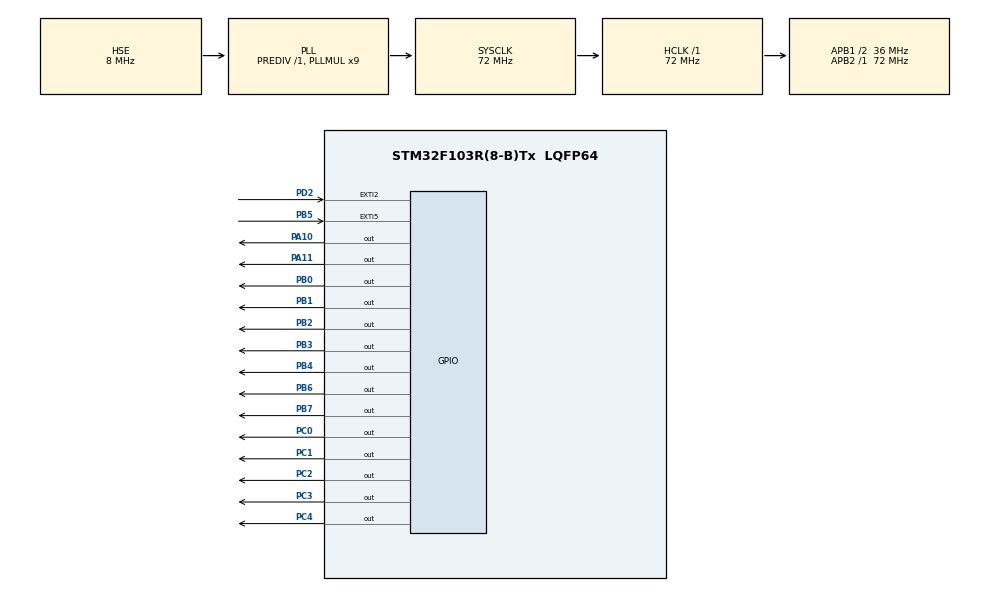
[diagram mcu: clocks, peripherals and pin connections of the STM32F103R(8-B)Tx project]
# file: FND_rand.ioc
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Mcu.Family=STM32F1
Mcu.Name=STM32F103R(8-B)Tx
Mcu.Package=LQFP64
NVIC.EXTI2_IRQn=true\:0\:0\:false\:false\:true\:true\:true\:true
NVIC.PriorityGroup=NVIC_PRIORITYGROUP_4
NVIC.RCC_IRQn=true\:0\:0\:false\:false\:true\:true\:false\:true
PA10.Signal=GPIO_Output
PA11.Signal=GPIO_Output
PA13.Mode=Serial_Wire
PA13.Signal=SYS_JTMS-SWDIO
PA14.Mode=Serial_Wire
PA14.Signal=SYS_JTCK-SWCLK
PB0.Signal=GPIO_Output
PB1.Signal=GPIO_Output
PB2.Signal=GPIO_Output
PB3.Signal=GPIO_Output
PB4.Signal=GPIO_Output
PB5.Signal=GPXTI5
PB6.Signal=GPIO_Output
PB7.Signal=GPIO_Output
PC0.Signal=GPIO_Output
PC1.Signal=GPIO_Output
PC14-OSC32_IN.Mode=LSE-External-Oscillator
PC14-OSC32_IN.Signal=RCC_OSC32_IN
PC15-OSC32_OUT.Mode=LSE-External-Oscillator
PC15-OSC32_OUT.Signal=RCC_OSC32_OUT
PC2.Signal=GPIO_Output
PC3.Signal=GPIO_Output
PC4.Signal=GPIO_Output
PD0-OSC_IN.Mode=HSE-External-Clock-Source
PD0-OSC_IN.Signal=RCC_OSC_IN
PD1-OSC_OUT.Mode=HSE-External-Clock-Source
PD1-OSC_OUT.Signal=RCC_OSC_OUT
PD2.GPIO_ModeDefaultEXTI=GPIO_MODE_IT_FALLING
PD2.Signal=GPXTI2
ProjectManager.HeapSize=0x200
ProjectManager.StackSize=0x400
ProjectManager.TargetToolchain=STM32CubeIDE
RCC.AHBFreq_Value=72000000
RCC.APB1CLKDivider=RCC_HCLK_DIV2
RCC.APB1Freq_Value=36000000
RCC.APB1TimFreq_Value=72000000
RCC.APB2Freq_Value=72000000
RCC.APB2TimFreq_Value=72000000
RCC.HCLKFreq_Value=72000000
RCC.PLLMUL=RCC_PLL_MUL9
RCC.PLLSourceVirtual=RCC_PLLSOURCE_HSE
RCC.SYSCLKFreq_VALUE=72000000
RCC.SYSCLKSource=RCC_SYSCLKSOURCE_PLLCLK
RCC.USBFreq_Value=72000000
board=custom

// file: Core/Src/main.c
/* USER CODE BEGIN Header */
/**
  ******************************************************************************
  * @file           : main.c
  * @brief          : Main program body
  ******************************************************************************
  * @attention
  *
  * Copyright (c) 2023 STMicroelectronics.
  * All rights reserved.
  *
  * This software is licensed under terms that can be found in the LICENSE file
  * in the root directory of this software component.
  * If no LICENSE file comes with this software, it is provided AS-IS.
  *
  ******+************************************************************************
  */
/* USER CODE END Header */
#include "main.h"
#include "stdlib.h"

/* USER CODE BEGIN PD */
#define OFF 0
#define ON 1

/* USER CODE END PD */

/* USER CODE BEGIN PV */
uint8_t number[] = {0x3f, 0x06, 0x5b, 0x4f,0x66, 0x6d, 0x7d, 0x07, 0x7f, 0x67};
uint8_t a,b,c,d;
int f;
typedef struct FND{
	GPIO_TypeDef *port;
	uint16_t pin;
}FND;

FND value[8]={
	{GPIOB, GPIO_PIN_0},
	{GPIOB, GPIO_PIN_1},
	{GPIOB, GPIO_PIN_2},
	{GPIOB, GPIO_PIN_3},
	{GPIOB, GPIO_PIN_4},
	{GPIOB, GPIO_PIN_5},
	{GPIOB, GPIO_PIN_6},
	{GPIOB, GPIO_PIN_7}
};

FND sel[4]={
		{GPIOA,GPIO_PIN_10},{GPIOA,GPIO_PIN_11},{GPIOC,GPIO_PIN_4},{GPIOC,GPIO_PIN_3}
};
/* USER CODE END PV */

void SystemClock_Config(void);
static void MX_GPIO_Init(void);

/* USER CODE BEGIN 0 */
void display_fnd(uint8_t data, uint8_t position , uint8_t time){
	int i;
	for(i = 0 ; i < 4; i++){
		if(i == position){
			HAL_GPIO_WritePin(sel[i].port, sel[i].pin, 1);
		}
		else{
			HAL_GPIO_WritePin(sel[i].port, sel[i].pin, 0);
		}
	}
	for(i = 0 ; i < 8; i++){

			if(data & (1<<i)){
				HAL_GPIO_WritePin(value[i].port, value[i].pin, 1);
			}
			else{
				HAL_GPIO_WritePin(value[i].port, value[i].pin, 0);
			}
		}
	HAL_Delay(time);
}
/* USER CODE END 0 */

int main(void)
{

  /* MCU Configuration--------------------------------------------------------*/

  /* Reset of all peripherals, Initializes the Flash interface and the Systick. */
  HAL_Init();

  /* Configure the system clock */
  SystemClock_Config();

  /* Initialize all configured peripherals */
  MX_GPIO_Init();

  /* Infinite loop */
  /* USER CODE BEGIN WHILE */
  while (1)
  {
	  a = rand()%10;
	  b = rand()%10;
	  c = rand()%10;
	  d = rand()%10;
    /* USER CODE END WHILE */

  }
}

void SystemClock_Config(void)
{
  RCC_OscInitTypeDef RCC_OscInitStruct = {0};
  RCC_ClkInitTypeDef RCC_ClkInitStruct = {0};

  /** Initializes the RCC Oscillators according to the specified parameters
  * in the RCC_OscInitTypeDef structure.
  */
  RCC_OscInitStruct.OscillatorType = RCC_OSCILLATORTYPE_HSE;
  RCC_OscInitStruct.HSEState = RCC_HSE_BYPASS;
  RCC_OscInitStruct.HSEPredivValue = RCC_HSE_PREDIV_DIV1;
  RCC_OscInitStruct.HSIState = RCC_HSI_ON;
  RCC_OscInitStruct.PLL.PLLState = RCC_PLL_ON;
  RCC_OscInitStruct.PLL.PLLSource = RCC_PLLSOURCE_HSE;
  RCC_OscInitStruct.PLL.PLLMUL = RCC_PLL_MUL9;
  if (HAL_RCC_OscConfig(&RCC_OscInitStruct) != HAL_OK)
  {
    Error_Handler();
  }

  /** Initializes the CPU, AHB and APB buses clocks
  */
  RCC_ClkInitStruct.ClockType = RCC_CLOCKTYPE_HCLK|RCC_CLOCKTYPE_SYSCLK
                              |RCC_CLOCKTYPE_PCLK1|RCC_CLOCKTYPE_PCLK2;
  RCC_ClkInitStruct.SYSCLKSource = RCC_SYSCLKSOURCE_PLLCLK;
  RCC_ClkInitStruct.AHBCLKDivider = RCC_SYSCLK_DIV1;
  RCC_ClkInitStruct.APB1CLKDivider = RCC_HCLK_DIV2;
  RCC_ClkInitStruct.APB2CLKDivider = RCC_HCLK_DIV1;

  if (HAL_RCC_ClockConfig(&RCC_ClkInitStruct, FLASH_LATENCY_2) != HAL_OK)
  {
    Error_Handler();
  }
}

static void MX_GPIO_Init(void)
{
  GPIO_InitTypeDef GPIO_InitStruct = {0};

  /* GPIO Ports Clock Enable */
  __HAL_RCC_GPIOC_CLK_ENABLE();
  __HAL_RCC_GPIOD_CLK_ENABLE();
  __HAL_RCC_GPIOB_CLK_ENABLE();
  __HAL_RCC_GPIOA_CLK_ENABLE();

  /*Configure GPIO pin Output Level */
  HAL_GPIO_WritePin(GPIOC, GPIO_PIN_0|GPIO_PIN_1|GPIO_PIN_2|GPIO_PIN_3
                          |GPIO_PIN_4, GPIO_PIN_RESET);

  /*Configure GPIO pin Output Level */
  HAL_GPIO_WritePin(GPIOB, GPIO_PIN_0|GPIO_PIN_1|GPIO_PIN_2|GPIO_PIN_3
                          |GPIO_PIN_4|GPIO_PIN_6|GPIO_PIN_7, GPIO_PIN_RESET);

  /*Configure GPIO pin Output Level */
  HAL_GPIO_WritePin(GPIOA, GPIO_PIN_10|GPIO_PIN_11, GPIO_PIN_RESET);

  /*Configure GPIO pins : PC0 PC1 PC2 PC3
                           PC4 */
  GPIO_InitStruct.Pin = GPIO_PIN_0|GPIO_PIN_1|GPIO_PIN_2|GPIO_PIN_3
                          |GPIO_PIN_4;
  GPIO_InitStruct.Mode = GPIO_MODE_OUTPUT_PP;
  GPIO_InitStruct.Pull = GPIO_NOPULL;
  GPIO_InitStruct.Speed = GPIO_SPEED_FREQ_LOW;
  HAL_GPIO_Init(GPIOC, &GPIO_InitStruct);

  /*Configure GPIO pins : PB0 PB1 PB2 PB3
                           PB4 PB6 PB7 */
  GPIO_InitStruct.Pin = GPIO_PIN_0|GPIO_PIN_1|GPIO_PIN_2|GPIO_PIN_3
                          |GPIO_PIN_4|GPIO_PIN_6|GPIO_PIN_7;
  GPIO_InitStruct.Mode = GPIO_MODE_OUTPUT_PP;
  GPIO_InitStruct.Pull = GPIO_NOPULL;
  GPIO_InitStruct.Speed = GPIO_SPEED_FREQ_LOW;
  HAL_GPIO_Init(GPIOB, &GPIO_InitStruct);

  /*Configure GPIO pins : PA10 PA11 */
  GPIO_InitStruct.Pin = GPIO_PIN_10|GPIO_PIN_11;
  GPIO_InitStruct.Mode = GPIO_MODE_OUTPUT_PP;
  GPIO_InitStruct.Pull = GPIO_NOPULL;
  GPIO_InitStruct.Speed = GPIO_SPEED_FREQ_LOW;
  HAL_GPIO_Init(GPIOA, &GPIO_InitStruct);

  /*Configure GPIO pin : PD2 */
  GPIO_InitStruct.Pin = GPIO_PIN_2;
  GPIO_InitStruct.Mode = GPIO_MODE_IT_FALLING;
  GPIO_InitStruct.Pull = GPIO_NOPULL;
  HAL_GPIO_Init(GPIOD, &GPIO_InitStruct);

  /*Configure GPIO pin : PB5 */
  GPIO_InitStruct.Pin = GPIO_PIN_5;
  GPIO_InitStruct.Mode = GPIO_MODE_IT_RISING;
  GPIO_InitStruct.Pull = GPIO_NOPULL;
  HAL_GPIO_Init(GPIOB, &GPIO_InitStruct);

  /* EXTI interrupt init*/
  HAL_NVIC_SetPriority(EXTI2_IRQn, 0, 0);
  HAL_NVIC_EnableIRQ(EXTI2_IRQn);

}

/* USER CODE BEGIN 4 */
HAL_GPIO_EXTI_Callback(uint16_t GPIO_Pin){
	if()
}
/* USER CODE END 4 */

void Error_Handler(void)
{
  __disable_irq();
  while (1)
  {
  }
}
